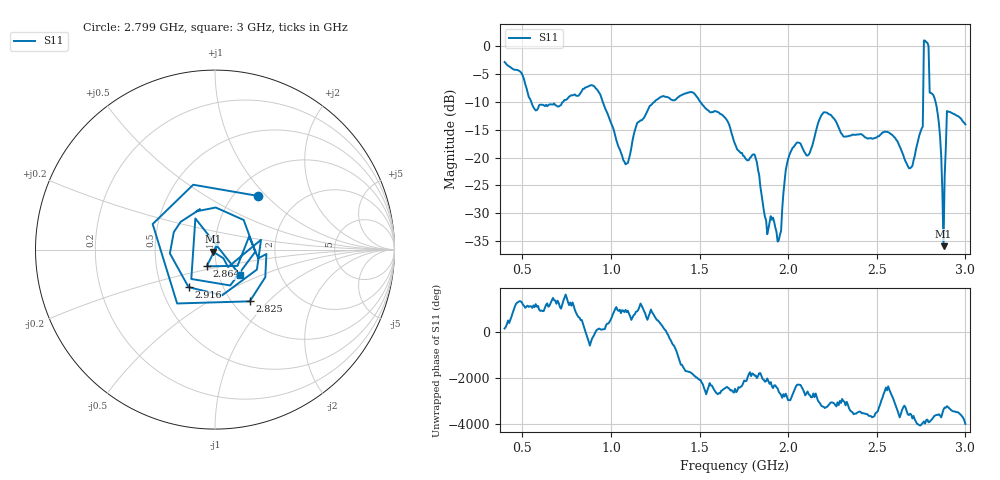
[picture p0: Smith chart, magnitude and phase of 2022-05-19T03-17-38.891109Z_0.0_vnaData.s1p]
!Created with skrf (http://scikit-rf.org).
# Hz S RI R 50.0
!freq ReS11 ImS11
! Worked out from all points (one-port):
!   401 points, 400 MHz to 3 GHz, reference 50 ohm
!   lowest |S11| = -35.9 dB at 2.877 GHz (marker M1), VSWR 1.03, Z = 48.9 - j1.17 ohm
!   |S11| at or under -10 dB: 550.8 MHz to 728.9 MHz (178.1 MHz wide, 27.8 % of centre); 953.9 MHz to 1.245 GHz (291.1 MHz wide, 26.5 % of centre); 1.505 GHz to 2.761 GHz (1.257 GHz wide, 58.9 % of centre) (the widest 3 of 4)
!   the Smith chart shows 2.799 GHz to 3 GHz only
!   S11 on the Smith chart (normalised r, x): 2.799 GHz: 1.28, +0.90; 2.825 GHz: 1.20, -0.79; 2.864 GHz: 0.90, -0.17; 2.916 GHz: 0.69, -0.31; 3 GHz: 1.26, -0.37
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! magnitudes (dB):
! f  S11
! 400 MHz  -2.8
! 569 MHz  -11.3
! 725 MHz  -10.1
! 907 MHz  -7.2
! 1.05 GHz  -18.5
! 1.089 GHz  -21.1
! 1.226 GHz  -10.6
! 1.375 GHz  -9.2
! 1.7 GHz  -17.5
! 1.81 GHz  -19.5
! 1.875 GHz  -31.3
! 1.947 GHz  -34.9
! 1.992 GHz  -21.3
! 2.025 GHz  -18.2
! 2.116 GHz  -19.5
! 2.207 GHz  -11.9
! 2.35 GHz  -16.1
! 2.571 GHz  -15.5
! 2.675 GHz  -21.5
! 2.747 GHz  -15.4
! 2.779 GHz  0.7
! 2.799 GHz  -8.3
! 2.825 GHz  -9.2
! 2.85 GHz  -13.8
! 2.864 GHz  -19.7
! 2.877 GHz  -35.9
! 2.916 GHz  -11.8
! 3 GHz  -14.0
